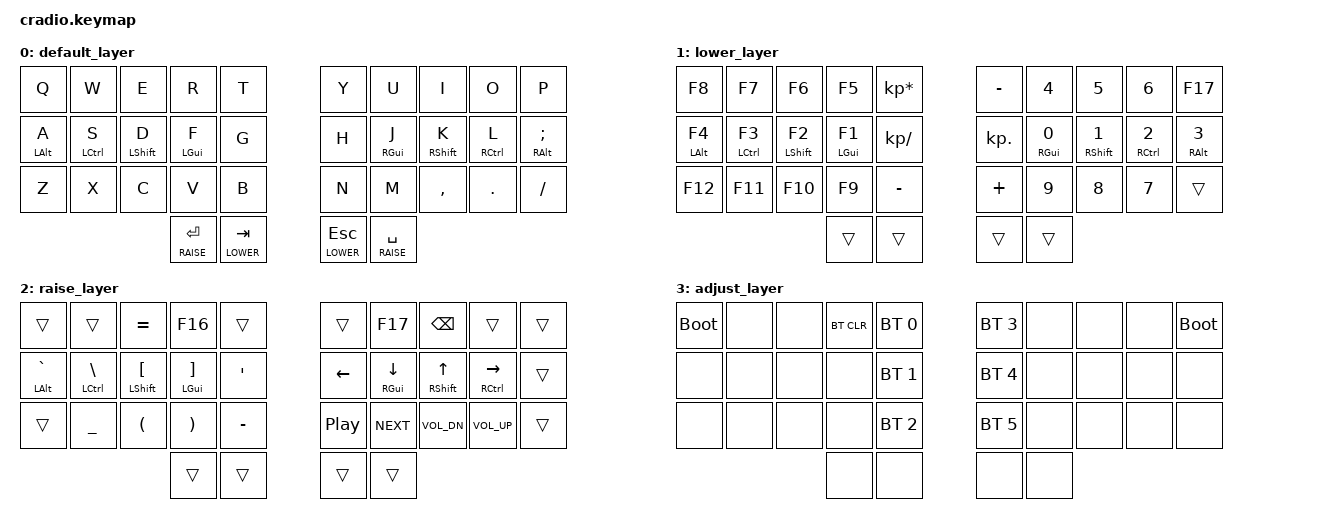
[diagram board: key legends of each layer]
/*
 * Copyright (c) 2020 The ZMK Contributors
 *
 * SPDX-License-Identifier: MIT
 */

#include <behaviors.dtsi>
#include <dt-bindings/zmk/keys.h>
#include <dt-bindings/zmk/bt.h>
#include <dt-bindings/zmk/pointing.h>

#define BASE 0
#define LOWER 1
#define RAISE 2
#define ADJUST 3


/ {
	behaviors {
		/* Key positions (see cradio.dtsi transform):
		 *   0-4   Q W E R T      5-9   Y U I O P
		 *  10-14  A S D F G     15-19  H J K L ;
		 *  20-24  Z X C V B     25-29  N M , . /
		 *  30 RET  31 TAB       32 ESC  33 SPACE
		 *
		 * Home-row mods, "balanced": a tap types the letter, holding past
		 * tapping-term-ms (or holding while another key goes up) fires the
		 * modifier.
		 *
		 * Deliberately no hold-trigger-key-positions and no
		 * require-prior-idle-ms: on a 3-row board Cmd+C / Cmd+V / Cmd+S are
		 * same-hand actions (Cmd on F or J, the letter often on the same
		 * half), and both options force such presses to resolve as taps -
		 * "fc" instead of Cmd+C. If fast typing starts firing stray
		 * modifiers, add require-prior-idle-ms = <100..150> first; the
		 * stronger option is hold-trigger-key-positions + pressing the
		 * modifier with the opposite hand.
		 */
		hml: homerow_mods_left {
			compatible = "zmk,behavior-hold-tap";
			#binding-cells = <2>;
			tapping-term-ms = <200>;
			quick-tap-ms = <175>;
			flavor = "balanced";
			bindings = <&kp>, <&kp>;
		};

		hmr: homerow_mods_right {
			compatible = "zmk,behavior-hold-tap";
			#binding-cells = <2>;
			tapping-term-ms = <200>;
			quick-tap-ms = <175>;
			flavor = "balanced";
			bindings = <&kp>, <&kp>;
		};
	};

	conditional_layers {
		compatible = "zmk,conditional-layers";
		func_layer {
			if-layers = <LOWER RAISE>;
			then-layer = <ADJUST>;
		};
	};

	combos {
		compatible = "zmk,combos";
			combo_quote {
				timeout-ms = <100>;
				key-positions = <12 17>;
				bindings = <&kp SQT>;
			};
			combo_plus {
				timeout-ms = <50>;
				key-positions = <2 3>;
				bindings = <&kp PLUS>;
			};
			combo_tmux {
				timeout-ms = <60>;
				key-positions = <16 33>;
				bindings = <&kp LC(B)>;
			};
			combo_bkspace {
				timeout-ms = <100>;
				key-positions = <6 7>;
				bindings = <&kp BSPC>;
			};
			combo_inc {
				timeout-ms = <50>;
				key-positions = <3 6>;
				bindings = <&kp LG(PLUS)>;
			};
			combo_dec {
				timeout-ms = <50>;
				key-positions = <4 5>;
				bindings = <&kp LG(MINUS)>;
			};
	};

	keymap {
		compatible = "zmk,keymap";

		default_layer {
			bindings = <
				&kp Q        &kp W        &kp E          &kp R        &kp T     &kp Y &kp U          &kp I          &kp O         &kp P
				&hml LALT A  &hml LCTL S  &hml LSHIFT D  &hml LGUI F  &kp G     &kp H &hmr RGUI J   &hmr RSHIFT K  &hmr RCTRL L  &hmr RALT SEMICOLON
				&kp Z        &kp X        &kp C          &kp V        &kp B     &kp N &kp M          &kp COMMA      &kp DOT       &kp SLASH
				                                       &lt RAISE RET    &lt LOWER TAB     &lt LOWER ESC &lt RAISE SPACE
			>;
		};

		lower_layer {
			bindings = <
				&kp F8          &kp F7          &kp F6            &kp F5          &kp KP_MULTIPLY   &kp MINUS  &kp N4            &kp N5            &kp N6          &kp F17
				&hml LALT F4    &hml LCTL F3    &hml LSHIFT F2    &hml LGUI F1    &kp KP_DIVIDE     &kp KP_DOT &hmr RGUI N0     &hmr RSHIFT N1    &hmr RCTRL N2   &hmr RALT N3
				&kp F12         &kp F11         &kp F10           &kp F9          &kp MINUS         &kp PLUS   &kp N9            &kp N8            &kp N7          &trans
				                                               &trans            &trans            &trans     &trans
			>;
		};

		raise_layer {
			bindings = <
				&trans          &trans          &kp EQUAL         &kp F16         &trans     &trans   &kp F17           &kp BSPC          &trans          &trans
				&hml LALT GRAVE &hml LCTL BSLH &hml LSHIFT LBKT   &hml LGUI RBKT  &kp SQT    &kp LEFT &hmr RGUI DOWN   &hmr RSHIFT UP    &hmr RCTRL RIGHT &trans
				&trans          &kp UNDER       &kp LPAR          &kp RPAR        &kp MINUS  &kp C_PP &kp C_NEXT        &kp C_VOL_DN      &kp C_VOL_UP    &trans
				                                               &trans            &trans     &trans   &trans
			>;
		};

		adjust_layer {
			bindings = <
				&bootloader &none &none &bt BT_CLR &bt BT_SEL 0        &bt BT_SEL 3 &none &none &none &bootloader
				&none       &none &none &none          &bt BT_SEL 1    &bt BT_SEL 4 &none &none &none &none
				&none       &none &none &none          &bt BT_SEL 2    &bt BT_SEL 5 &none &none &none &none
				                                   &none &none        &none &none
			>;
		};

	};
};
